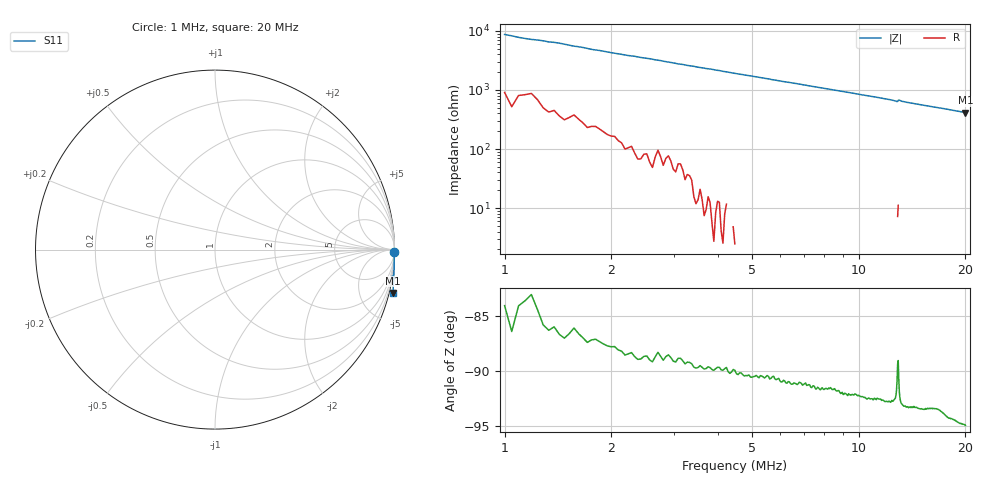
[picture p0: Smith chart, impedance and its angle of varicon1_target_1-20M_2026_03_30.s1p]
# HZ S RI R 50
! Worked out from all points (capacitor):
!   401 points, 1 MHz to 20 MHz, reference 50 ohm
!   read as one part to ground: C = 18.4 pF near 1.095 MHz
!   lowest |Z| = 415 ohm at 20 MHz (marker M1)
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1000000  0.9987 -0.0114
1427500  0.9989 -0.016
3375000  0.9988 -0.0392
5750000  0.9983 -0.0672
8125000  0.9981 -0.0952
1.05e7  0.9977 -0.1241
1.10225e7  0.9974 -0.1303
1.2115e7  0.9966 -0.1443
1.25425e7  0.9957 -0.1505
1.2685e7  0.9949 -0.1532
1.27325e7  0.9941 -0.1544
1.278e7  0.9926 -0.1558
1.28275e7  0.99 -0.1566
1.2875e7  0.9862 -0.1548
1.29225e7  0.9863 -0.1489
1.297e7  0.991 -0.1474
1.30175e7  0.9938 -0.1491
1.3065e7  0.995 -0.1506
1.31125e7  0.9956 -0.152
1.3255e7  0.9961 -0.1555
1.36825e7  0.996 -0.1621
1.47275e7  0.995 -0.176
1.525e7  0.9945 -0.1822
1.6105e7  0.9928 -0.1929
1.658e7  0.9923 -0.1977
1.70075e7  0.9924 -0.2024
1.7625e7  0.9929 -0.2104
2e7  0.9917 -0.2418
